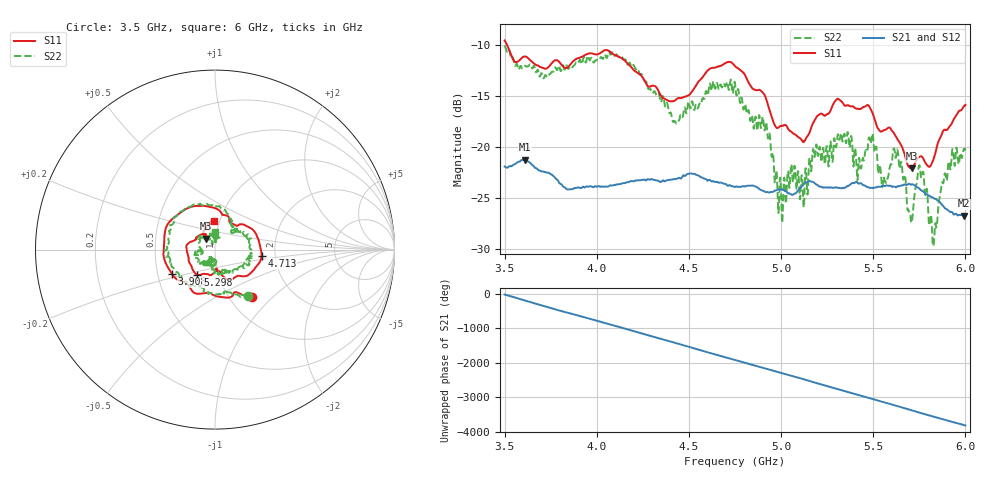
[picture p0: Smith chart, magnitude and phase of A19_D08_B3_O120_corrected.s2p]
! Created with skrf 1.9.0 (http://scikit-rf.org).
# Hz S RI R 50.0
!freq ReS11 ImS11 ReS21 ImS21 ReS12 ImS12 ReS22 ImS22
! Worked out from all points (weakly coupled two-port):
!   1601 points, 3.5 GHz to 6 GHz, reference 50 ohm
!   highest |S21| = -21.23 dB at 3.609 GHz (marker M1); lowest = -26.7 dB at 5.994 GHz (marker M2)
!   lowest |S11| = -22.1 dB at 5.711 GHz (marker M3), VSWR 1.17, Z = 44.9 + j5.46 ohm
!   |S11| at or under -10 dB: 3.514 GHz to end of sweep
!   |S22| runs from -29.7 to -10.0 dB; largest |S21 - S12| = 0.0011
!   S11 on the Smith chart (normalised r, x): 3.5 GHz: 1.27, -0.75; 3.908 GHz: 0.60, -0.18; 4.713 GHz: 1.69, -0.13; 5.298 GHz: 0.79, -0.23; 6 GHz: 0.94, +0.31
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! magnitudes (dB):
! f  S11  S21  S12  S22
! 3.5 GHz  -9.5  -21.9  -21.9  -10.0
! 3.609 GHz  -11.1  -21.2  -21.2  -12.0
! 3.908 GHz  -11.2  -24.0  -24.0  -11.4
! 3.917 GHz  -11.2  -24.0  -24.0  -11.8
! 4.334 GHz  -14.5  -23.3  -23.2  -14.7
! 4.431 GHz  -15.3  -23.1  -23.1  -17.7
! 4.713 GHz  -11.6  -23.8  -23.8  -14.1
! 4.75 GHz  -12.1  -23.9  -23.8  -13.7
! 4.928 GHz  -15.8  -24.4  -24.4  -19.1
! 4.997 GHz  -17.9  -24.2  -24.2  -23.2
! 5.167 GHz  -17.9  -23.4  -23.4  -21.6
! 5.298 GHz  -15.4  -23.9  -23.9  -20.0
! 5.423 GHz  -16.3  -23.5  -23.5  -21.1
! 5.487 GHz  -16.3  -24.0  -24.0  -19.6
! 5.584 GHz  -18.1  -23.8  -23.8  -22.5
! 5.623 GHz  -19.0  -23.9  -23.9  -20.9
! 5.711 GHz  -22.1  -23.6  -23.6  -27.2
! 5.759 GHz  -20.9  -24.2  -24.2  -23.0
! 5.833 GHz  -20.8  -25.1  -25.0  -28.5
! 5.88 GHz  -18.4  -25.8  -25.7  -23.5
! 5.994 GHz  -16.0  -26.7  -26.6  -20.2
! 6 GHz  -15.9  -26.7  -26.7  -20.1
